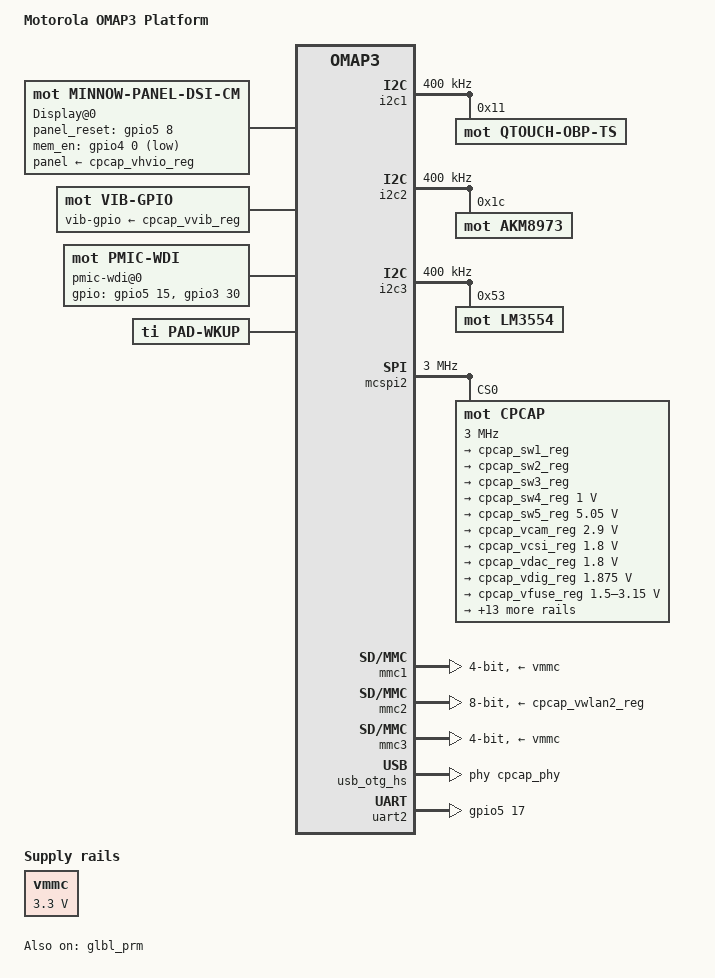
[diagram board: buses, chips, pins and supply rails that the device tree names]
/*
 * Copyright (C) 2013 Motorola Mobility LLC
 *
 * This program is free software; you can redistribute it and/or modify
 * it under the terms of the GNU General Public License version 2 as
 * published by the Free Software Foundation.
 */
/* reserve memory for ram_console */
/memreserve/ 0x83000000 0x20000; /* IMAGE_DOWN_LOAD_ADDR */

/include/ "omap36xx.dtsi"

/ {
	model = "Motorola OMAP3 Platform";
	compatible = "mot,omap3-mapphone", "ti,omap3";

	ramoops {
		compatible = "ramoops";
		status = "ok";

		android,ramoops-buffer-start = <0x83000000>;
		android,ramoops-buffer-size  = <0x20000>;
		android,ramoops-console-size = <0x1FC00>;
		android,ramoops-annotate-size = <0x400>;
	};

	cpus {
		cpu@0 {
			device_type = "cpu";
			operating-points = <
				/* kHz    uV */
				 300000   975000
				 600000  1150000
				 800000  1275000
				1000000  1337500
			>;
			/* TODO: cpu0-supply = <&???>; */
			/* OPP tolerance in percentage */
			voltage-tolerance = <0>;
			reset-voltage = <1275000>;
		};
	};

	regulators {
		compatible = "simple-bus";

		vmmc: fixedregulator {
			compatible = "regulator-fixed";
			regulator-name = "vmmc";
			regulator-min-microvolt = <3300000>;
			regulator-max-microvolt = <3300000>;
		};

	};

	Display@0 {
		compatible = "mot,minnow-panel-dsi-cm";
		panel-supply = <&cpcap_vhvio_reg>;
		/*
		 * 0: MINNOW_PANEL_CM_220X176
		 * 1: MINNOW_PANEL_CM_220X220
		 * 2: MINNOW_PANEL_CM_BRIDGE_320X320
		 * 3: MINNOW_PANEL_CM_480X854
		 */
		id_panel = <3>;
		gpio_panel_reset = <&gpio5 8 0>; /* gpio-136, GPIO_ACTIVE_HIGH */
		gpio_mem_en = <&gpio4 0 1>;      /* gpio-96, GPIO_ACTIVE_LOW */
		/* DSI Pin config */
		pins =	<0>, <1>,
			<2>, <3>,
			<4>, <5>;
		esd_interval = <16000>;          /* ESD_INTERVAL */
		/*
		 * 0: RGB888
		 * 1: RGB666
		 * 2: RGB666_PACKED
		 * 3: RGB565
		 */
		pixel_format = <0>;
		pinctrl-names = "display_reset";
		pinctrl-0 = <&display_reset_pins>;
	};

	vib-gpio {
		compatible = "mot,vib-gpio";
		gpio = <181>;
		active_low = <0>;
		vib-gpio-supply = <&cpcap_vvib_reg>;
	};

	cpcap_phy: cpcap-usb@0 {
		compatible = "mot,cpcap-usb";
	};

	sound {
		compatible = "mot,motsnd";

		ti,mcbsp = <&mcbsp1 &mcbsp2>;
	};

	pmic-wdi@0 {
		compatible = "mot,pmic-wdi";
		gpios  = <&gpio5 15 0x0>, /* gpio-143 GPIOF_DIR_OUT|GPIOF_INIT_LOW */
			 <&gpio3 30 0x0>; /* gpio-94  GPIOF_DIR_OUT|GPIOF_INIT_LOW */
		gpio-names = "wdi",
			     "sys_reset";
		//pinctrl-names = "output", "tristate";
		//pinctrl-0 = <&wdi_phy_gpio_mode>;
		//pinctrl-1 = <&wdi_phy_safe_mode>;
	};

	pad-wkup {
		/* on omap, the irqs are calculated as follows:
		 * for the 96 intc IRQs
		 *   irq = 16 + irq_offset (from TRM sec 12.3.2)
		 * for a gpio IRQ (banks numbered 1 to 6
		 *   irq = 16 + 96 + (gpio_bank - 1) * 32
		 */
		compatible = "ti,pad-wkup";

		/* Map the pad offset (off) to an interrupt (IRQ).    */
		/* if handle is 1, an irq will be generated based on  */
		/* the pad wkup bit.  If 0, the pad will be used only */
		/* for reporting, assumingly because the domain will  */
		/* be in a state during suspend to generate the IRQ   */
		/* directly.                                          */
		/* generic_handle_irq() will be called for multiple   */
		/* wakeup sources, but only the first in the order    */
		/* listed below will be reported as the wakeup reason */
		/*                                                    */
		/*             off  IRQ handle                        */
		ti,pad_irq = <0x144  89 1>, /* uart2 - bluetooth      */
		             <0x16e  90 1>, /* uart3 - serial rx      */
		             <0x0a2  96 1>, /* uart4 - m4 rx          */
		             <0x08e 171 1>, /* m4sensor hub           */
		             <0x0e6 211 1>, /* touch                  */
		             <0x140 254 1>, /* USB                    */
		             <0x1a2 288 1>, /* bq5105x charger        */
			     <0x1b0 112 0>, /* gpio0 - tps (dbg only) */
		             <0x5bc 134 1>, /* bq5105x charger pulse  */
		             <0x13c 252 1>; /* battery                */
	};

};

&vc {
	ti,i2c-high-speed;
	ti,i2c-pad-load = <3>;
	vc_mpu{
		ti,master-channel;
	};

	vc_core{
		ti,use-master-slave-addr;
	};
};

&usbhshost {
// Just enable OTG.
};


&glbl_prm {
	status = "ok";
	sys_clk = "osc_sys_ck";
	autoextclkmode = <2>;
	sys_off_mode;
	auto_off;
	auto_retention;
	offmodesetup_time = <3500>;
	clksetup_time = <1000>;
};

&i2c1 {
	clock-frequency = <400000>;
	qtouch-obp-ts {
		reg = <0x11>;
		compatible = "mot,qtouch-obp-ts";
		abs_max_w = <20>;
		abs_max_x = <1003>;
		abs_max_y = <941>;
		abs_min_x = <21>;
		abs_min_y = <0>;
		x_delta = <1024>;
		y_delta = <1024>;
		obj_t15 = [01 00 09 01 03 00 00 ff 01 00];
		obj_t19 = [01 00 3c 00 00 00 00 00 00 00 00 00 00 00 00 00];
		obj_t22 = [25 00 00 19 00 e7 ff 04 14 00 00 00 07 0e 14 16 04];
		obj_t28 = [00 00 02 04 08 07];
		obj_t7 = [0a 11 00];
		obj_t8 = [0a 00 0a 14 64 00 01 00];
		obj_t9 = [0b 00 00 12 09 00 10 28 02 00 19 14 05 3e 02 20 38 05 00 00 00 00 04 00 17 21 d8 30 87 91 00];

		touch_key_map = <0x8b 0x29 0x381 0x59 0x42 0x66 0xac 0x381 0x64 0x42 0x9e 0x134 0x381 0x64 0x42 0xd9 0x1ba 0x381 0x5e 0x42>;
		touchobp-flags = <124>;
		i2c_address = <36>;
		touch_panel_rst = <164>;
	};
};

&i2c2 {
	clock-frequency = <400000>;
	akm8973 {
		reg = <0x1c>;
		compatible = "mot,akm8973";
		gpio-irq = <175>;
		gpio-reset = <28>;
	};
};

&i2c3 {
	clock-frequency = <400000>;
	lm3554 {
		reg = <0x53>;
		compatible = "mot,lm3554";
		flags = <0x1>;
		torch_brightness_def = <0xa0>;
		flash_brightness_def = <0x30>;
		flash_duration_def = <0x28>;
		config_reg_1_def = <0xe0>;
		config_reg_2_def = <0xf0>;
		vin_monitor_def = <0x00>;
		gpio_reg_def = <0x0>;
	};
};

&omap3_pmx_core {
	pinctrl-names = "default";
	pinctrl-0 = <
		&board_pins
		//&audio_gpio_pins
		//&usb_phy_pins
	>;

	board_pins: pinmux_board_pins {
		pinctrl-single,pins = <
			0x000 0x500
			0x002 0x100
			0x004 0x100
			0x006 0x100
			0x008 0x100
			0x00a 0x100
			0x00c 0x100
			0x00e 0x100
			0x010 0x100
			0x012 0x100
			0x014 0x100
			0x016 0x100
			0x018 0x100
			0x01a 0x100
			0x01c 0x100
			0x01e 0x100
			0x020 0x100
			0x022 0x100
			0x024 0x100
			0x026 0x100
			0x028 0x100
			0x02a 0x100
			0x02c 0x100
			0x02e 0x100
			0x030 0x100
			0x032 0x100
			0x034 0x100
			0x036 0x100
			0x038 0x100
			0x03a 0x100
			0x03c 0x100
			0x03e 0x100
			0x040 0x100
			0x042 0x100
			0x044 0x100
			0x046 0x100
			0x048 0x100
			0x04a 0x451f
			0x04c 0x451f
			0x04e 0x451f
			0x050 0x451c
			0x052 0x471f
			0x054 0x451c
			0x056 0x451f
			0x058 0x451f
			0x05a 0x11f
			0x05c 0x11c
			0x05e 0x118
			0x060 0x118
			0x062 0x118
			0x064 0x118
			0x066 0x118
			0x068 0x118
			0x06a 0x118
			0x06c 0x118
			0x06e 0x118
			0x070 0x118
			0x072 0x118
			0x074 0x118
			0x076 0x118
			0x078 0x118
			0x07a 0x118
			0x07c 0x118
			0x07e 0x100
			0x080 0x100
			0x082 0x11f
			0x084 0x11f
			0x086 0x11f
			0x088 0x11f
			0x08a 0x11f
			0x08c 0x11f
			0x08e 0x004
			0x090 0x100
			0x092 0x100
			0x094 0x100
			0x096 0x100
			0x098 0x100
			0x09a 0x100
			0x09c 0x118
			0x09e 0x11f
			0x0a0 0x00c
			0x0a2 0x11c
			0x0a4 0x11f
			0x0a6 0x11f
			0x0a8 0x11f
			0x0aa 0x11f
			0x0ac 0x201
			0x0ae 0x201
			0x0b0 0x201
			0x0b2 0x201
			0x0b4 0x201
			0x0b6 0x201
			0x0b8 0x11f
			0x0ba 0x11f
			0x0bc 0x11f
			0x0be 0x11f
			0x0c0 0x11f
			0x0c2 0x11f
			0x0c4 0x11f
			0x0c6 0x11f
			0x0c8 0x11f
			0x0ca 0x11f
			0x0cc 0x11f
			0x0ce 0x11f
			0x0d0 0x11f
			0x0d2 0x11f
			0x0d4 0x11f
			0x0d6 0x11f
			0x0d8 0x104
			0x0da 0x004
			0x0dc 0x100
			0x0de 0x100
			0x0e0 0x100
			0x0e2 0x100
			0x0e4 0x004
			0x0e6 0x104
			0x0e8 0x451f
			0x0ea 0x100
			0x0ec 0x100
			0x0ee 0x100
			0x0f0 0x100
			0x0f2 0x100
			0x0f4 0x100
			0x0f6 0x100
			0x0f8 0x100
			0x0fa 0x100
			0x0fc 0x100
			0x0fe 0x4504
			0x100 0x11f
			0x102 0x11f
			0x104 0x10f
			0x106 0x10f
			0x108 0x10f
			0x10a 0x10f
			0x10c 0x108
			0x10e 0x108
			0x110 0x108
			0x112 0x008
			0x114 0x000
			0x116 0x118
			0x118 0x118
			0x11a 0x118
			0x11c 0x118
			0x11e 0x118
			0x128 0x100
			0x12a 0x118
			0x12c 0x118
			0x12e 0x118
			0x130 0x118
			0x132 0x118
			0x136 0x105
			0x138 0x10d
			0x13a 0x10d
			0x13c 0x10d
			0x13e 0x10d
			0x140 0x10d
			0x142 0x10d
			0x144 0x118
			0x146 0x000
			0x148 0x000
			0x14a 0x118
			0x14c 0x000
			0x14e 0x000
			0x150 0x410d
			0x152 0x108
			0x154 0x10d
			0x156 0x10d
			0x158 0x10d
			0x15a 0x10d
			0x15c 0x10a /* MCBSP1_CLKR, MODE2 | PD | INPUT */
			0x15e 0x101
			0x160 0x00a
			0x162 0x10a
			0x164 0x11c
			0x166 0x10a
			0x168 0x10a /* MCBSP1_CLKX, MODE2 | PD | INPUT */
			0x16a 0x104
			0x16c 0x01c
			0x18c 0x118
			0x18e 0x118
			0x190 0x118
			0x192 0x118
			0x194 0x118
			0x196 0x700
			0x198 0x118 /* MCSPI1_CLK, muxdump value: MODE1 | INPUT | PULL_UP | PUD_ENABLED (0x119), 2.6.32 value: MODE0 | INPUT | PULL_UP | PUD_ENABLED (0x118), minnow value: MODE0 | INPUT (0x100) */
			0x19a 0x000 /* MCSPI1_SIMO, muxdump value: MODE1 | INPUT | PULL_UP | PUD_ENABLED (0x119), minnow + 2.6.32 value: MODE0 | OUTPUT (0x000) */
			0x19c 0x118 /* MCSPI1_SOMI, muxdump value: MODE1 | INPUT | PULL_UP | PUD_ENABLED (0x119), 2.6.32 value: MODE0 | INPUT | PULL_UP | PUD_ENABLED (0x118), minnow value: MODE0 | INPUT (0x100) */
			0x19e 0x000 /* MCSPI1_CS0, muxdump value: MODE1 | INPUT | PULL_UP | PUD_ENABLED (0x119), minnow + 2.6.32 value: MODE0 | OUTPUT (0x000) */
			0x1a0 0x10c /* MCSPI1_CS1, muxdump value: MODE4 | INPUT | PUD_ENABLED (0x10c), 2.6.32 value: MODE4 | INPUT (0x104), minnow value: MODE0 | OUTPUT (0x000) */
			0x1a2 0x01f /* MCSPI1_CS2, muxdump value: MODE7 | INPUT | PULL_UP | PUD_ENABLED (0x01f), 2.6.32 value: MODE4 | OUTPUT | PUD_ENABLED (0x00c), minnow value: MODE4 | INPUT | OFFWAKEUP (0x4104) */
			0x1a4 0x11f /* MCSPI1_CS3, muxdump value: MODE7 | INPUT | PULL_UP | PUD_ENABLED (0x11f), 2.6.32 value: MODE4 | INPUT (0x104), minnow value: MODE4 | OUTPUT (0x004) */
			0x1a8 0x000
			0x1aa 0x4508
			0x1ac 0x000
			0x1ae 0x11c /* MCSPI2_CS1, MODE4 | INPUT | PULL_UP | PUD_ENABLED, minnow value: MODE4 | OUTPUT */
			0x1b2 0x004
			0x5a8 0x102
			0x5aa 0x11a
			0x5ac 0x11f
			0x5ae 0x104
			0x5b0 0x4104
			0x5b2 0x11a
			0x5b4 0x11a
			0x5b6 0x11a
			0x5b8 0x11a
			0x5ba 0x004
			0x5bc 0x104
			0x5be 0x004
			0x5c0 0x100
			0x5c2 0x100
			0x5c4 0x100
			0x5c6 0x100
			0x5c8 0x004
			0x5ca 0x103
			0x1b4 0x108
			0x1b6 0x108
			0x1b8 0x108
			0x1ba 0x108
			0x1bc 0x108
			0x1be 0x108
			0x1c0 0x108
			0x1c2 0x108
			0x1c4 0x108
			0x1c6 0x108
			0x1c8 0x108
			0x1ca 0x108
			0x1cc 0x108
			0x1ce 0x108
			0x1d0 0x108
			0x1d2 0x108
			0x1d4 0x108
			0x1d6 0x108
			0x1d8 0x108
			0x1da 0x108
			0x1dc 0x108
			0x1de 0x108
			0x1e0 0x108
			0x1e2 0x108
			0x1e4 0x108
			0x1e6 0x108
			0x1e8 0x108
			0x1ea 0x108
			0x1ec 0x108
			0x1ee 0x108
			0x1f0 0x108
			0x1f2 0x108
			0x1f4 0x108
			0x1f6 0x108
			0x1f8 0x108
			0x1fa 0x108
			0x1fc 0x108
			0x1fe 0x108
			0x200 0x100
			0x202 0x118
			0x204 0x100
			0x206 0x100
			0x208 0x108
			0x20a 0x100
			0x20c 0x100
			0x20e 0x100
			0x210 0x100
			0x212 0x100
			0x214 0x100
			0x216 0x100
			0x218 0x108
			0x21a 0x100
			0x21c 0x100
			0x21e 0x108
			0x220 0x118
			0x222 0x100
			0x224 0x118
			0x226 0x108
			0x228 0x100
			0x22a 0x108
			0x22c 0x100
			0x22e 0x100
			0x230 0x100
			0x232 0x000
			0x234 0x000
		>;
	};

	display_reset_pins: pinmux_display_reset_pins {
		pinctrl-single,pins = <
			0x134 0x004 /* SDMMC2_DAT4, GPIO-136, MODE4 | OUTPUT */
		>;
	};

	cpcap_pins: pinux_cpcap_pins {
		pinctrl-single,pins = <
			0x1b0 0x570c /* SYS_NIRQ */
		>;
	};

	uart2_pins_default: pinmux_uart_pins_default@2 {
		pinctrl-single,pins = <
			0x144 0x4100	/* UART2_CTS, MODE0  | OUTPUT | OFFWAKEUP */
			0x146 0x000	/* UART2_RTS, MODE0 | OUTPUT */
			0x148 0x000	/* UART2_TX, MODE0 | OUTPUT */
			0x14a 0x100	/* UART2_RX, MODE0 | INPUT */
		>;
	};

	uart2_pins_idle: pinmux_uart_pins_idle@2 {
		pinctrl-single,pins = <
			0x144 0x4100	/* UART2_CTS, MODE0  | OUTPUT | OFFWAKEUP */
			0x146 0x004	/* UART2_RTS, MODE4 | OUTPUT */
			0x148 0x000	/* UART2_TX, MODE0 | OUTPUT */
			0x14a 0x100	/* UART2_RX, MODE0 | INPUT */
		>;
	};
};

&omap3_pmx_wkup{
	pinctrl-names = "default";
	pinctrl-0 = <&wkup_pins>;

	wkup_pins: pinmux_wakeup_pins {
		pinctrl-single,pins = <
			0x000 0x118
			0x002 0x118
			0x004 0x100
			0x006 0x100
			0x008 0x118
			0x00a 0x5700
			0x00c 0x100
			0x00e 0x100
			0x010 0x100
			0x012 0x100
			0x014 0x004
			0x016 0x118
			0x018 0x004
			0x01a 0x4704
			0x01c 0x108
			0x01e 0x108
			0x020 0x118
			0x022 0x118
			0x024 0x007
			0x026 0x001
			0x04c 0x108
			0x04e 0x000
			0x050 0x000
			0x054 0x000
			0x056 0x118
			0x058 0x118
			0x05a 0x118
		>;
	};
};

&mcspi2 {
	clock-frequency = <3000000>;

	cpcap {
		compatible = "mot,cpcap";
		reg = <0>; /* CS 0 */
		spi-max-frequency = <3000000>;
		spi-cs-high;

		pinctrl-names = "default";
		pinctrl-0 = <&cpcap_pins>;
		irq-gpio = <0>; /* SYS_NIRQ = GPIO0 */

		regulators {
			#address-cells = <1>;
			#size-cells = <0>;

			cpcap_sw1_reg: regulator@0 {
				reg = <0>;
				regulator-compatible = "CPCAP_SW1";
				regulator-name = "sw1";
			};

			cpcap_sw2_reg: regulator@1 {
				reg = <1>;
				regulator-compatible = "CPCAP_SW2";
				regulator-name = "sw2";
			};

			cpcap_sw3_reg: regulator@2 {
				reg = <2>;
				regulator-compatible = "CPCAP_SW3";
				regulator-name = "sw3";
			};

			cpcap_sw4_reg: regulator@3 {
				reg = <3>;
				regulator-compatible = "CPCAP_SW4";
				regulator-name = "sw4";
				regulator-min-microvolt = <1000000>;
				regulator-max-microvolt = <1000000>;
			};

			cpcap_sw5_reg: regulator@4 {
				reg = <4>;
				regulator-compatible = "CPCAP_SW5";
				regulator-name = "sw5";
				regulator-min-microvolt = <5050000>;
				regulator-max-microvolt = <5050000>;
			};

			cpcap_vcam_reg: regulator@5 {
				reg = <5>;
				regulator-compatible = "CPCAP_VCAM";
				regulator-name = "vcam";
				regulator-min-microvolt = <2900000>;
				regulator-max-microvolt = <2900000>;
				regulator-always-on;
			};

			cpcap_vcsi_reg: regulator@6 {
				reg = <6>;
				regulator-compatible = "CPCAP_VCSI";
				regulator-name = "vcsi";
				regulator-min-microvolt = <1800000>;
				regulator-max-microvolt = <1800000>;
				regulator-always-on; /* Modem dying in suspend if set to 0 */
			};

			cpcap_vdac_reg: regulator@7 {
				reg = <7>;
				regulator-compatible = "CPCAP_VDAC";
				regulator-name = "vdac";
				regulator-min-microvolt = <1800000>;
				regulator-max-microvolt = <1800000>;
			};

			cpcap_vdig_reg: regulator@8 {
				reg = <8>;
				regulator-compatible = "CPCAP_VDIG";
				regulator-name = "vdig";
				regulator-min-microvolt = <1875000>;
				regulator-max-microvolt = <1875000>;
				regulator-always-on;
			};

			cpcap_vfuse_reg: regulator@9 {
				reg = <9>;
				regulator-compatible = "CPCAP_VFUSE";
				regulator-name = "vfuse";
				regulator-min-microvolt = <1500000>;
				regulator-max-microvolt = <3150000>;
			};

			cpcap_vhvio_reg: regulator@10 {
				reg = <10>;
				regulator-compatible = "CPCAP_VHVIO";
				regulator-name = "vhvio";
				regulator-min-microvolt = <2775000>;
				regulator-max-microvolt = <2775000>;
				regulator-always-on;
			};

			cpcap_vsdio_reg: regulator@11 {
				reg = <11>;
				regulator-compatible = "CPCAP_VSDIO";
				regulator-name = "vsdio";
				regulator-min-microvolt = <2900000>;
				regulator-max-microvolt = <2900000>;
			};

			cpcap_vpll_reg: regulator@12 {
				reg = <12>;
				regulator-compatible = "CPCAP_VPLL";
				regulator-name = "vpll";
				regulator-min-microvolt = <1800000>;
				regulator-max-microvolt = <1800000>;
				regulator-always-on;
			};

			cpcap_vrf1_reg: regulator@13 {
				reg = <13>;
				regulator-compatible = "CPCAP_VRF1";
				regulator-name = "vrf1";
				regulator-min-microvolt = <2775000>;
				regulator-max-microvolt = <2775000>;
				regulator-always-on;
			};

			cpcap_vrf2_reg: regulator@14 {
				reg = <14>;
				regulator-compatible = "CPCAP_VRF2";
				regulator-name = "vrf2";
				regulator-min-microvolt = <2775000>;
				regulator-max-microvolt = <2775000>;
				regulator-always-on;
			};

			cpcap_vrfref_reg: regulator@15 {
				reg = <15>;
				regulator-compatible = "CPCAP_VRFREF";
				regulator-name = "vrfref";
				regulator-min-microvolt = <2775000>;
				regulator-max-microvolt = <2775000>;
				regulator-always-on;
			};

			cpcap_vwlan1_reg: regulator@16 {
				reg = <16>;
				regulator-compatible = "CPCAP_VWLAN1";
				regulator-name = "vwlan1";
				regulator-min-microvolt = <1800000>;
				regulator-max-microvolt = <1900000>;
			};

			cpcap_vwlan2_reg: regulator@17 {
				reg = <17>;
				regulator-compatible = "CPCAP_VWLAN2";
				regulator-name = "vwlan2";
				regulator-min-microvolt = <3000000>;
				regulator-max-microvolt = <3000000>;
			};

			cpcap_vsim_reg: regulator@18 {
				reg = <18>;
				regulator-compatible = "CPCAP_VSIM";
				regulator-name = "vsim";
				regulator-min-microvolt = <1800000>;
				regulator-max-microvolt = <2900000>;
			};

			cpcap_vsimcard_reg: regulator@19 {
				reg = <19>;
				regulator-compatible = "CPCAP_VSIMCARD";
				regulator-name = "vsimcard";
				regulator-min-microvolt = <1800000>;
				regulator-max-microvolt = <2900000>;
			};

			cpcap_vvib_reg: regulator@20 {
				reg = <20>;
				regulator-compatible = "CPCAP_VVIB";
				regulator-name = "vvib";
				regulator-min-microvolt = <1300000>;
				regulator-max-microvolt = <3000000>;
			};

			cpcap_vusb_reg: regulator@21 {
				reg = <21>;
				regulator-compatible = "CPCAP_VUSB";
				regulator-name = "vusb";
				regulator-min-microvolt = <3300000>;
				regulator-max-microvolt = <3300000>;
			};

			cpcap_vaudio_reg: regulator@22 {
				reg = <22>;
				regulator-compatible = "CPCAP_VAUDIO";
				regulator-name = "vaudio";
				regulator-min-microvolt = <2775000>;
				regulator-max-microvolt = <2775000>;
				regulator-always-on;
			};
		};
	};
};

/* leave gpio bank interface clocks on during suspend
 * to avoid race condition in gpio_irq_handler */
&gpio1 {
	ti,no_idle_on_suspend;
};

&gpio2 {
	ti,no_idle_on_suspend;
};

&gpio3 {
	ti,no_idle_on_suspend;
};

&gpio4 {
	ti,no_idle_on_suspend;
};

&gpio5 {
	ti,no_idle_on_suspend;
};

&gpio6 {
	ti,no_idle_on_suspend;
};

/* external */
&mmc1 {
	status = "okay";
	vmmc-supply = <&vmmc>;
	bus-width = <4>;
};

/* internal */
&mmc2 {
	ti,non-removable;
	bus-width = <8>;
	vmmc-supply = <&cpcap_vwlan2_reg>;
};

/* wireless */
&mmc3 {
	ti,non-removable;
	cap-power-off-card;
	bus-width = <4>;
	vmmc-supply = <&vmmc>;
	wl_host_wake_gpio = <65>;
	wifi_pmena = <186>;
};

&usb_otg_hs {
	interface-type = <0>;
	usb-phy = <&cpcap_phy>;
	mode = <3>;
	power = <50>;

};
/* c55 */
&uart1 {
	flags = <0x00200000>;
	open_close_pm;
	autosuspend-delay = <50>; /* ms */
};
/* bluetooth */
&uart2 {
	flags = <0x00200000>;
	ti,no-pm-qos;
	wakeup-capable;
	autosuspend-delay = <100>; /* ms */
	timed-wakelock = <150>; /* ms */
	rx_trig = <32>;

	/* rts_gpio HACK */
	gpios = <&gpio5 17 2>; /* gpio_145 (uart_rts) GPIOF_DIR_OUT|GPIOF_INIT_HIGH */
	pinctrl-names = "default", "idle";
	pinctrl-0 = <&uart2_pins_default>;
	pinctrl-1 = <&uart2_pins_idle>;

	resume-noidle;
};
/* serial console */
&uart3 {
	wakeup-capable;
	autosuspend-delay = <3000>; /* ms */
};

